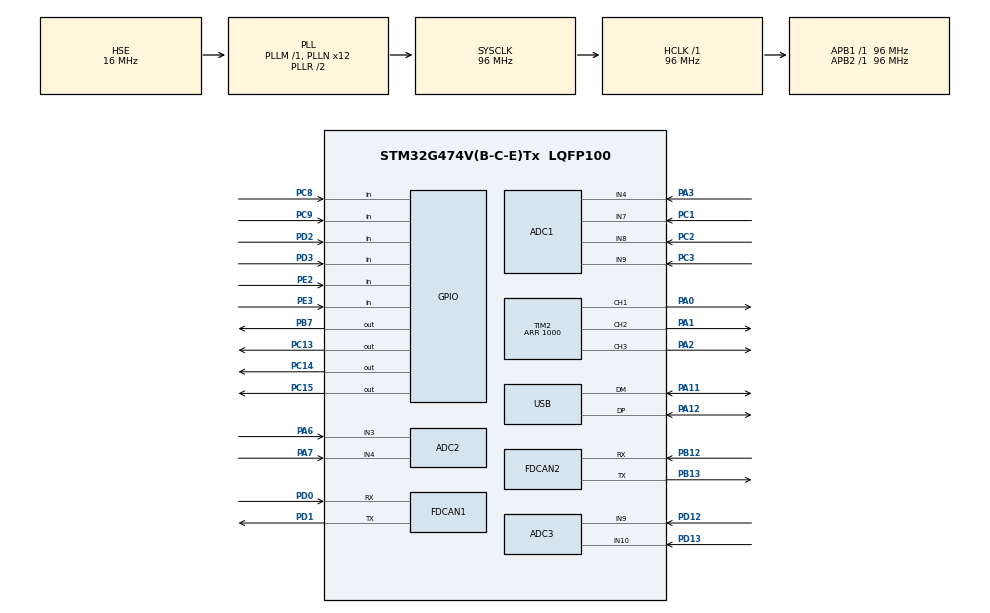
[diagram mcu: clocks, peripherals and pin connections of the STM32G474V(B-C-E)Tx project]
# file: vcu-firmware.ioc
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ADC1.Channel-1\#ChannelRegularConversion=ADC_CHANNEL_4
ADC1.NbrOfConversionFlag=1
ADC1.OffsetNumber-1\#ChannelRegularConversion=ADC_OFFSET_NONE
ADC1.Rank-1\#ChannelRegularConversion=1
ADC1.SamplingTime-1\#ChannelRegularConversion=ADC_SAMPLETIME_2CYCLES_5
ADC1.master=1
ADC2.Channel-0\#ChannelRegularConversion=ADC_CHANNEL_3
ADC2.Channel-1\#ChannelRegularConversion=ADC_CHANNEL_4
ADC2.ContinuousConvMode=DISABLE
ADC2.DMAContinuousRequests=ENABLE
ADC2.NbrOfConversion=2
ADC2.NbrOfConversionFlag=1
ADC2.OffsetNumber-0\#ChannelRegularConversion=ADC_OFFSET_NONE
ADC2.OffsetNumber-1\#ChannelRegularConversion=ADC_OFFSET_NONE
ADC2.Rank-0\#ChannelRegularConversion=1
ADC2.Rank-1\#ChannelRegularConversion=2
ADC2.SamplingTime-0\#ChannelRegularConversion=ADC_SAMPLETIME_247CYCLES_5
ADC2.SamplingTime-1\#ChannelRegularConversion=ADC_SAMPLETIME_247CYCLES_5
ADC3.Channel-4\#ChannelRegularConversion=ADC_CHANNEL_9
ADC3.Channel-6\#ChannelRegularConversion=ADC_CHANNEL_10
ADC3.ContinuousConvMode=DISABLE
ADC3.DMAContinuousRequests=ENABLE
ADC3.NbrOfConversion=2
ADC3.NbrOfConversionFlag=1
ADC3.OffsetNumber-4\#ChannelRegularConversion=ADC_OFFSET_NONE
ADC3.OffsetNumber-6\#ChannelRegularConversion=ADC_OFFSET_NONE
ADC3.Rank-4\#ChannelRegularConversion=1
ADC3.Rank-6\#ChannelRegularConversion=2
ADC3.SamplingTime-4\#ChannelRegularConversion=ADC_SAMPLETIME_247CYCLES_5
ADC3.SamplingTime-6\#ChannelRegularConversion=ADC_SAMPLETIME_247CYCLES_5
ADC3.master=1
Dma.ADC1.0.Direction=DMA_PERIPH_TO_MEMORY
Dma.ADC1.0.EventEnable=DISABLE
Dma.ADC1.0.Instance=DMA1_Channel1
Dma.ADC1.0.MemDataAlignment=DMA_MDATAALIGN_HALFWORD
Dma.ADC1.0.MemInc=DMA_MINC_ENABLE
Dma.ADC1.0.Mode=DMA_CIRCULAR
Dma.ADC1.0.PeriphDataAlignment=DMA_PDATAALIGN_HALFWORD
Dma.ADC1.0.PeriphInc=DMA_PINC_DISABLE
Dma.ADC1.0.Polarity=HAL_DMAMUX_REQ_GEN_RISING
Dma.ADC1.0.Priority=DMA_PRIORITY_MEDIUM
Dma.ADC1.0.RequestNumber=1
Dma.ADC1.0.SignalID=NONE
Dma.ADC1.0.SyncEnable=DISABLE
Dma.ADC1.0.SyncPolarity=HAL_DMAMUX_SYNC_NO_EVENT
Dma.ADC1.0.SyncRequestNumber=1
Dma.ADC1.0.SyncSignalID=NONE
Dma.ADC2.1.Direction=DMA_PERIPH_TO_MEMORY
Dma.ADC2.1.EventEnable=DISABLE
Dma.ADC2.1.Instance=DMA1_Channel2
Dma.ADC2.1.MemDataAlignment=DMA_MDATAALIGN_HALFWORD
Dma.ADC2.1.MemInc=DMA_MINC_ENABLE
Dma.ADC2.1.Mode=DMA_CIRCULAR
Dma.ADC2.1.PeriphDataAlignment=DMA_PDATAALIGN_HALFWORD
Dma.ADC2.1.PeriphInc=DMA_PINC_DISABLE
Dma.ADC2.1.Polarity=HAL_DMAMUX_REQ_GEN_RISING
Dma.ADC2.1.Priority=DMA_PRIORITY_MEDIUM
Dma.ADC2.1.RequestNumber=1
Dma.ADC2.1.SignalID=NONE
Dma.ADC2.1.SyncEnable=DISABLE
Dma.ADC2.1.SyncPolarity=HAL_DMAMUX_SYNC_NO_EVENT
Dma.ADC2.1.SyncRequestNumber=1
Dma.ADC2.1.SyncSignalID=NONE
Dma.ADC3.2.Direction=DMA_PERIPH_TO_MEMORY
Dma.ADC3.2.EventEnable=DISABLE
Dma.ADC3.2.Instance=DMA2_Channel1
Dma.ADC3.2.MemDataAlignment=DMA_MDATAALIGN_HALFWORD
Dma.ADC3.2.MemInc=DMA_MINC_ENABLE
Dma.ADC3.2.Mode=DMA_CIRCULAR
Dma.ADC3.2.PeriphDataAlignment=DMA_PDATAALIGN_HALFWORD
Dma.ADC3.2.PeriphInc=DMA_PINC_DISABLE
Dma.ADC3.2.Polarity=HAL_DMAMUX_REQ_GEN_RISING
Dma.ADC3.2.Priority=DMA_PRIORITY_MEDIUM
Dma.ADC3.2.RequestNumber=1
Dma.ADC3.2.SignalID=NONE
Dma.ADC3.2.SyncEnable=DISABLE
Dma.ADC3.2.SyncPolarity=HAL_DMAMUX_SYNC_NO_EVENT
Dma.ADC3.2.SyncRequestNumber=1
Dma.ADC3.2.SyncSignalID=NONE
Dma.Request0=ADC1
Dma.Request1=ADC2
Dma.Request2=ADC3
FDCAN1.AutoRetransmission=ENABLE
FDCAN1.CalculateBaudRateNominal=1000000
FDCAN1.CalculateTimeBitNominal=1000
FDCAN1.CalculateTimeQuantumNominal=125.0
FDCAN1.Mode=FDCAN_MODE_NORMAL
FDCAN1.NominalPrescaler=12
FDCAN1.NominalTimeSeg1=5
FDCAN1.NominalTimeSeg2=2
FDCAN1.TransmitPause=DISABLE
FDCAN1.TxFifoQueueMode=FDCAN_TX_FIFO_OPERATION
FDCAN2.CalculateBaudRateNominal=1000000
FDCAN2.CalculateTimeBitNominal=1000
FDCAN2.CalculateTimeQuantumNominal=125.0
FDCAN2.NominalPrescaler=12
FDCAN2.NominalTimeSeg1=5
FDCAN2.NominalTimeSeg2=2
FREERTOS.Tasks01=defaultTask,24,128,StartDefaultTask,Default,NULL,Dynamic,NULL,NULL
FREERTOS.configTOTAL_HEAP_SIZE=16384
Mcu.Family=STM32G4
Mcu.Name=STM32G474V(B-C-E)Tx
Mcu.Package=LQFP100
NVIC.DMA1_Channel1_IRQn=true\:10\:0\:true\:false\:true\:true\:false\:true\:true
NVIC.DMA1_Channel2_IRQn=true\:10\:0\:true\:false\:true\:true\:false\:true\:true
NVIC.DMA2_Channel1_IRQn=true\:10\:0\:true\:false\:true\:false\:false\:true\:true
NVIC.FDCAN1_IT0_IRQn=true\:5\:0\:false\:false\:true\:true\:true\:true\:true
NVIC.FDCAN1_IT1_IRQn=true\:5\:0\:false\:false\:true\:true\:true\:true\:true
NVIC.PriorityGroup=NVIC_PRIORITYGROUP_4
NVIC.TIM20_UP_IRQn=true\:15\:0\:false\:false\:true\:false\:false\:true\:true
NVIC.TimeBase=TIM20_UP_IRQn
NVIC.TimeBaseIP=TIM20
NVIC.USB_LP_IRQn=true\:5\:0\:false\:false\:true\:true\:false\:true\:true
PA0.Signal=S_TIM2_CH1
PA1.Signal=S_TIM2_CH2
PA11.Mode=Device
PA11.Signal=USB_DM
PA12.Mode=Device
PA12.Signal=USB_DP
PA13.Mode=Trace_Asynchronous_SW
PA13.Signal=SYS_JTMS-SWDIO
PA14.Mode=Trace_Asynchronous_SW
PA14.Signal=SYS_JTCK-SWCLK
PA2.Signal=S_TIM2_CH3
PA3.Mode=IN4-Single-Ended
PA3.Signal=ADC1_IN4
PA6.Mode=IN3-Single-Ended
PA6.Signal=ADC2_IN3
PA7.Mode=IN4-Single-Ended
PA7.Signal=ADC2_IN4
PB12.Mode=FDCAN_Activate
PB12.Signal=FDCAN2_RX
PB13.Mode=FDCAN_Activate
PB13.Signal=FDCAN2_TX
PB3.Mode=Trace_Asynchronous_SW
PB3.Signal=SYS_JTDO-SWO
PB7.Signal=GPIO_Output
PC1.Mode=IN7-Single-Ended
PC1.Signal=ADC1_IN7
PC13.Signal=GPIO_Output
PC14-OSC32_IN.Signal=GPIO_Output
PC15-OSC32_OUT.Signal=GPIO_Output
PC2.Mode=IN8-Single-Ended
PC2.Signal=ADC1_IN8
PC3.Mode=IN9-Single-Ended
PC3.Signal=ADC1_IN9
PC8.Signal=GPIO_Input
PC9.Signal=GPIO_Input
PD0.Mode=FDCAN_Activate
PD0.Signal=FDCAN1_RX
PD1.Mode=FDCAN_Activate
PD1.Signal=FDCAN1_TX
PD12.Mode=IN9-Single-Ended
PD12.Signal=ADC3_IN9
PD13.Mode=IN10-Single-Ended
PD13.Signal=ADC3_IN10
PD2.Signal=GPIO_Input
PD3.Signal=GPIO_Input
PE2.Signal=GPIO_Input
PE3.Signal=GPIO_Input
PF0-OSC_IN.Mode=HSE-External-Oscillator
PF0-OSC_IN.Signal=RCC_OSC_IN
PF1-OSC_OUT.Mode=HSE-External-Oscillator
PF1-OSC_OUT.Signal=RCC_OSC_OUT
ProjectManager.HeapSize=0x200
ProjectManager.StackSize=0x400
ProjectManager.TargetToolchain=Makefile
RCC.ADC12Freq_Value=96000000
RCC.ADC345Freq_Value=96000000
RCC.AHBFreq_Value=96000000
RCC.APB1Freq_Value=96000000
RCC.APB1TimFreq_Value=96000000
RCC.APB2Freq_Value=96000000
RCC.APB2TimFreq_Value=96000000
RCC.CortexFreq_Value=96000000
RCC.EXTERNAL_CLOCK_VALUE=12288000
RCC.HCLKFreq_Value=96000000
RCC.HSE_VALUE=16000000
RCC.HSI48_VALUE=48000000
RCC.HSI_VALUE=16000000
RCC.LSE_VALUE=32768
RCC.PLLN=12
RCC.PLLQ=RCC_PLLQ_DIV4
RCC.PLLSourceVirtual=RCC_PLLSOURCE_HSE
RCC.SYSCLKFreq_VALUE=96000000
RCC.SYSCLKSource=RCC_SYSCLKSOURCE_PLLCLK
RCC.USBFreq_Value=48000000
RCC.VCOOutputFreq_Value=192000000
SH.S_TIM2_CH1.0=TIM2_CH1,PWM Generation1 CH1
SH.S_TIM2_CH2.0=TIM2_CH2,PWM Generation2 CH2
SH.S_TIM2_CH3.0=TIM2_CH3,PWM Generation3 CH3
TIM2.Channel-PWM\ Generation1\ CH1=TIM_CHANNEL_1
TIM2.Channel-PWM\ Generation2\ CH2=TIM_CHANNEL_2
TIM2.Channel-PWM\ Generation3\ CH3=TIM_CHANNEL_3
TIM2.Dithering=Disable
TIM2.OCFastMode_PWM-PWM\ Generation1\ CH1=TIM_OCFAST_ENABLE
TIM2.OCFastMode_PWM-PWM\ Generation2\ CH2=TIM_OCFAST_ENABLE
TIM2.OCFastMode_PWM-PWM\ Generation3\ CH3=TIM_OCFAST_ENABLE
TIM2.OCPolarity_1=TIM_OCPOLARITY_LOW
TIM2.OCPolarity_2=TIM_OCPOLARITY_LOW
TIM2.OCPolarity_3=TIM_OCPOLARITY_LOW
TIM2.PeriodNoDither=1000
USB_DEVICE.CLASS_NAME_FS=CDC
USB_DEVICE.VirtualMode=Cdc
USB_DEVICE.VirtualModeFS=Cdc_FS
VP_FREERTOS_VS_CMSIS_V2.Mode=CMSIS_V2
VP_SYS_VS_DBSignals.Mode=DisableDeadBatterySignals
VP_SYS_VS_tim20.Mode=TIM20
VP_USB_DEVICE_VS_USB_DEVICE_CDC_FS.Mode=CDC_FS
board=custom
FDCAN1.StdFiltersNbr=16
FDCAN2.StdFiltersNbr=8
NVIC.FDCAN2_IT0_IRQn=true\:5\:0\:false\:false\:true\:true\:true\:true\:true

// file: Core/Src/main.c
/* USER CODE BEGIN Header */
/**
 ******************************************************************************
 * @file           : main.c
 * @brief          : Main program body
 ******************************************************************************
 * @attention
 *
 * Copyright (c) 2025 STMicroelectronics.
 * All rights reserved.
 *
 * This software is licensed under terms that can be found in the LICENSE file
 * in the root directory of this software component.
 * If no LICENSE file comes with this software, it is provided AS-IS.
 *
 ******************************************************************************
 */
/* USER CODE END Header */
#include "main.h"
#include "cmsis_os.h"
#include "adc.h"
#include "dma.h"
#include "fdcan.h"
#include "tim.h"
#include "usb_device.h"
#include "gpio.h"

void SystemClock_Config(void);
void MX_FREERTOS_Init(void);

int main(void)
{

  /* MCU Configuration--------------------------------------------------------*/

  /* Reset of all peripherals, Initializes the Flash interface and the Systick. */
  HAL_Init();

  /* Configure the system clock */
  SystemClock_Config();

  /* Initialize all configured peripherals */
  MX_GPIO_Init();
  MX_DMA_Init();
  MX_ADC1_Init();
  MX_ADC2_Init();
  MX_ADC3_Init();
  MX_FDCAN1_Init();
  MX_FDCAN2_Init();
  MX_TIM2_Init();

  /* Init scheduler */
  osKernelInitialize();

  /* Call init function for freertos objects (in cmsis_os2.c) */
  MX_FREERTOS_Init();

  /* Start scheduler */
  osKernelStart();

  /* We should never get here as control is now taken by the scheduler */

  /* Infinite loop */
    while (1) {

    }
}

void SystemClock_Config(void)
{
  RCC_OscInitTypeDef RCC_OscInitStruct = {0};
  RCC_ClkInitTypeDef RCC_ClkInitStruct = {0};

  /** Configure the main internal regulator output voltage
  */
  HAL_PWREx_ControlVoltageScaling(PWR_REGULATOR_VOLTAGE_SCALE1);

  /** Initializes the RCC Oscillators according to the specified parameters
  * in the RCC_OscInitTypeDef structure.
  */
  RCC_OscInitStruct.OscillatorType = RCC_OSCILLATORTYPE_HSE;
  RCC_OscInitStruct.HSEState = RCC_HSE_ON;
  RCC_OscInitStruct.PLL.PLLState = RCC_PLL_ON;
  RCC_OscInitStruct.PLL.PLLSource = RCC_PLLSOURCE_HSE;
  RCC_OscInitStruct.PLL.PLLM = RCC_PLLM_DIV1;
  RCC_OscInitStruct.PLL.PLLN = 12;
  RCC_OscInitStruct.PLL.PLLP = RCC_PLLP_DIV2;
  RCC_OscInitStruct.PLL.PLLQ = RCC_PLLQ_DIV4;
  RCC_OscInitStruct.PLL.PLLR = RCC_PLLR_DIV2;
  if (HAL_RCC_OscConfig(&RCC_OscInitStruct) != HAL_OK)
  {
    Error_Handler();
  }

  /** Initializes the CPU, AHB and APB buses clocks
  */
  RCC_ClkInitStruct.ClockType = RCC_CLOCKTYPE_HCLK|RCC_CLOCKTYPE_SYSCLK
                              |RCC_CLOCKTYPE_PCLK1|RCC_CLOCKTYPE_PCLK2;
  RCC_ClkInitStruct.SYSCLKSource = RCC_SYSCLKSOURCE_PLLCLK;
  RCC_ClkInitStruct.AHBCLKDivider = RCC_SYSCLK_DIV1;
  RCC_ClkInitStruct.APB1CLKDivider = RCC_HCLK_DIV1;
  RCC_ClkInitStruct.APB2CLKDivider = RCC_HCLK_DIV1;

  if (HAL_RCC_ClockConfig(&RCC_ClkInitStruct, FLASH_LATENCY_3) != HAL_OK)
  {
    Error_Handler();
  }
}

void HAL_TIM_PeriodElapsedCallback(TIM_HandleTypeDef *htim)
{
  if (htim->Instance == TIM20)
  {
    HAL_IncTick();
  }
}

void Error_Handler(void)
{
  /* USER CODE BEGIN Error_Handler_Debug */
    /* User can add his own implementation to report the HAL error return state
     */
    __disable_irq();
    while (1) {
        // HAL_TIM_PWM_DeInit(&htim2);
        // HAL_GPIO_TogglePin(GPIOA, GPIO_PIN_0);
    }
  /* USER CODE END Error_Handler_Debug */
}

#ifdef  USE_FULL_ASSERT
/**
  * @brief  Reports the name of the source file and the source line number
  *         where the assert_param error has occurred.
  * @param  file: pointer to the source file name
  * @param  line: assert_param error line source number
  * @retval None
  */
void assert_failed(uint8_t *file, uint32_t line)
{
  /* USER CODE BEGIN 6 */
    /* User can add his own implementation to report the file name and line
       number, ex: printf("Wrong parameters value: file %s on line %d\r\n",
       file, line) */
  /* USER CODE END 6 */
}
#endif /* USE_FULL_ASSERT */

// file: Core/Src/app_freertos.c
/* USER CODE BEGIN Header */
/**
 *******************************************************************************
 * File Name          : app_freertos.c
 * Description        : Code for FreeRTOS applications (VCU)
 *******************************************************************************
 */
/* USER CODE END Header */

#include "FreeRTOS.h"
#include "cmsis_os.h"
#include "main.h"
#include "task.h"

#include "usb_device.h"

/* USER CODE BEGIN Includes */

#include "adc.h"
#include "tim.h"
#include "usbd_cdc_if.h"

#include "longhorn/rtos/dfu.h"
#include "longhorn/rtos/led.h"
#include "longhorn/rtos/logger.h"
#include "longhorn/rtos/usb.h"
#include "longhorn/usb_base.h"
#include "ota/ota_flash.h"

#include "vcu_model/inc/vcu_inputs.h"
#include "vcu_model/inc/vcu_model.h"
#include "vcu_model/inc/vcu_outputs.h"

#include "vcu_can.h"

#include "params/acceleration_params.h"
#include "params/autocross_params.h"
#include "params/endurance_params.h"
#include "params/skidpad_params.h"

#include <stdint.h>
#include <stdlib.h>
#include <math.h>
/* USER CODE END Includes */

/* USER CODE BEGIN PTD */
// External ADC handles
extern ADC_HandleTypeDef hadc1;
extern ADC_HandleTypeDef hadc2;
extern ADC_HandleTypeDef hadc3;

// DMA buffers
// APPS1, APPS2 from ADC3 (configured in adc.c)
extern volatile uint16_t adc3_dma_buf[2];
// BSE from ADC2
extern volatile uint16_t adc2_dma_buf[2];

// Thread handles
osThreadId_t systemTaskHandle;
osThreadId_t controlTaskHandle;
osThreadId_t ledHandle;

// Thread attributes
const osThreadAttr_t systemTask_attributes = {
    .name = "SystemTask",
    .priority = osPriorityNormal,
    .stack_size = 512 * 4,
};

const osThreadAttr_t controlTask_attributes = {
    .name = "ControlTask",
    .priority = osPriorityAboveNormal,
    .stack_size = 2048,
};
/* USER CODE END PTD */

/* USER CODE BEGIN PD */
#define SELECTED_PARAMS endurance_params
/* USER CODE END PD */

/* USER CODE BEGIN PM */
#define ADC_APPS_SCALE_V 3.3f
#define ADC_STEERING_SCALE_V 3.3f
#define STEERING_DIVIDER_R_TOP_OHMS 5100.0f
#define STEERING_DIVIDER_R_BOTTOM_OHMS 10000.0f
#define STEERING_SENSOR_SUPPLY_V 4.64f
#define STEERING_SENSOR_MIN_RATIO 0.10f
#define STEERING_SENSOR_MAX_RATIO 0.90f
#define STEERING_SENSOR_ANGLE_RANGE_DEG 360.0f
#define STEERING_SENSOR_ANGLE_OFFSET_DEG 0.0f
#define CONTROL_LOOP_PERIOD_MS 3u

/* USER CODE END PM */

/* USER CODE BEGIN Variables */

static vcu_parameters_t s_params;
static vcu_model_context_t ctx = {0};

/* USER CODE END Variables */
/* Definitions for defaultTask */
osThreadId_t defaultTaskHandle;
const osThreadAttr_t defaultTask_attributes = {
    .name = "defaultTask",
    .priority = (osPriority_t)osPriorityNormal,
    .stack_size = 128 * 4};

/* USER CODE BEGIN FunctionPrototypes */

// Function prototypes
void StartSystemTask(void *argument);
void StartControlTask(void *argument);
static float steering_adc_to_sensor_voltage(float adc_voltage_v);
static float steering_sensor_voltage_to_percent(float sensor_voltage_v);
static float steering_sensor_voltage_to_angle_deg(float sensor_voltage_v);

/* USER CODE END FunctionPrototypes */

void StartDefaultTask(void *argument);

void MX_FREERTOS_Init(void); /* (MISRA C 2004 rule 8.1) */

void MX_FREERTOS_Init(void) {
  /* USER CODE BEGIN Init */

  // Create system/init task
  systemTaskHandle = osThreadNew(StartSystemTask, NULL, &systemTask_attributes);

  // Configure and start rainbow LED thread
  rainbow_led_t led = (rainbow_led_t){
      .ccr1 = &TIM2->CCR2,
      .ccr2 = &TIM2->CCR1,
      .ccr3 = &TIM2->CCR3,
      .channel1 = TIM_CHANNEL_1,
      .channel2 = TIM_CHANNEL_2,
      .channel3 = TIM_CHANNEL_3,
      .pwm_start = (HAL_PWM_Start_Fn)HAL_TIM_PWM_Start,
      .timer_handle = &htim2,
  };
  led_init(&led);
  ledHandle = led_start_thread();

  // Create main control task
  controlTaskHandle =
      osThreadNew(StartControlTask, NULL, &controlTask_attributes);

  /* USER CODE END Init */

  /* Create the thread(s) */
  /* creation of defaultTask */
  defaultTaskHandle =
      osThreadNew(StartDefaultTask, NULL, &defaultTask_attributes);

}

void StartDefaultTask(void *argument) {
  /* init code for USB_Device */
  MX_USB_Device_Init();
  /* USER CODE BEGIN StartDefaultTask */
  /* Infinite loop */
  for (;;) {
    osDelay(10000);
  }
  /* USER CODE END StartDefaultTask */
}

/* USER CODE BEGIN Application */
static float steering_adc_to_sensor_voltage(float adc_voltage_v) {
  const float divider_gain =
      (STEERING_DIVIDER_R_TOP_OHMS + STEERING_DIVIDER_R_BOTTOM_OHMS) /
      STEERING_DIVIDER_R_BOTTOM_OHMS;
  return adc_voltage_v * divider_gain;
}

// 48% (rightmost) to 114% (leftmost)

static float steering_sensor_voltage_to_angle_deg(float sensor_voltage_v) {
  // Assumes the PIHER sensor output is ratiometric from 10% to 90% of the
  // 4.64 V supply across a 360 degree sweep.
  float angle_pct = steering_sensor_voltage_to_percent(sensor_voltage_v);
  float raw_angle_deg = (angle_pct * STEERING_SENSOR_ANGLE_RANGE_DEG) -
         (0.5f * STEERING_SENSOR_ANGLE_RANGE_DEG);
  float adjusted_angle_deg = raw_angle_deg + STEERING_SENSOR_ANGLE_OFFSET_DEG;
  return adjusted_angle_deg;
}

static float steering_sensor_voltage_to_percent(float sensor_voltage_v) {
  const float sensor_min_v =
      STEERING_SENSOR_SUPPLY_V * STEERING_SENSOR_MIN_RATIO;
  const float sensor_max_v =
      STEERING_SENSOR_SUPPLY_V * STEERING_SENSOR_MAX_RATIO;
  const float clamped_sensor_v =
      fminf(fmaxf(sensor_voltage_v, sensor_min_v), sensor_max_v);
  float pct = (clamped_sensor_v - sensor_min_v) / (sensor_max_v - sensor_min_v);
  if(pct > 0.8f) {
    pct -= 1.0f;
  }
  return pct;
}

// SystemTask: one-time initialization (USB, logging, DFU, ADC DMA, CAN) -----
void StartSystemTask(void *argument) {
  // USB + logging
  MX_USB_Device_Init();

  if (init_logging(CDC_Transmit_FS) == -1) {
    // If USB logging fails, stop LED thread so we notice
    osThreadTerminate(ledHandle);
  }

  // DFU (bootloader) config
  dfu_config dfu = {
      .delay_fn = (Delay_fn)osDelay,
      .gpiox = GPIOB,
      .pin = GPIO_PIN_7,
      .pin_set_fn = (PinSet_fn)HAL_GPIO_WritePin,
      .reset_fn = (SystemReset_fn)HAL_NVIC_SystemReset,
      .set_bank1_fn = (SetBank1_fn)ota_set_bank1,
  };
  init_dfu(dfu);
  dfu_start_thread();

  // Start DMA conversions for APPS (ADC3) and BSE (ADC2) once
  if (HAL_ADC_Start_DMA(&hadc3, (uint32_t *)adc3_dma_buf, 2) != HAL_OK) {
    Error_Handler();
  }
  if (HAL_ADC_Start_DMA(&hadc2, (uint32_t *)adc2_dma_buf, 2) != HAL_OK) {
    Error_Handler();
  }

  // Initialize CAN (longhorn-lib, inverter torque command + feedback)
  vcu_can_init();

  // Nothing else to do here; keep the task alive for future use
  for (;;) {
    osDelay(pdMS_TO_TICKS(500));
  }
}

// ControlTask: main 3ms loop (ADC -> model -> CAN -> logging) --------------
void StartControlTask(void *argument) {
  // Let system init (USB, DFU, CAN, DMA) finish
  osDelay(pdMS_TO_TICKS(1000));

  vcu_can_clear_inverter_faults();

  static uint32_t last_tick = 0;
  last_tick = osKernelGetTickCount();

  vcu_inputs_t in = {0};
  vcu_outputs_t out = {0};

  s_params = SELECTED_PARAMS;
  vcu_model_init(&ctx, &s_params);

  uint32_t adc1_val = 0; // steering ADC1 read
  float steering_adc_voltage_v = 0.0f;
  float steering_sensor_voltage_v = 0.0f;
  float steering_angle_pct = 0.0f;
  float steering_angle_deg = 0.0f;

  HAL_ADC_Start(&hadc1);
  TickType_t next_release = xTaskGetTickCount();

  for (;;) {
    uint32_t current_tick = osKernelGetTickCount();
    uint32_t dt_ms = current_tick - last_tick;
    last_tick = current_tick;

    // Make sure DMA conversions are running for APPS/BSE.
    // If DMA is already running, HAL will usually return HAL_BUSY; that's OK.
    HAL_StatusTypeDef s;

    s = HAL_ADC_Start_DMA(&hadc3, (uint32_t *)adc3_dma_buf, 2);
    if (s != HAL_OK && s != HAL_BUSY) {
      Error_Handler();
    }

    s = HAL_ADC_Start_DMA(&hadc2, (uint32_t *)adc2_dma_buf, 2);
    if (s != HAL_OK && s != HAL_BUSY) {
      Error_Handler();
    }

    // Optional: small delay to let conversions complete before we read
    // osDelay(1);

    // Consume completed steering conversion without blocking the torque loop.
    // This legacy steering value is telemetry, not a qualified TC road-wheel angle.
    if (__HAL_ADC_GET_FLAG(&hadc1, ADC_FLAG_EOC)) {
      adc1_val = HAL_ADC_GetValue(&hadc1);
      HAL_ADC_Stop(&hadc1);
      HAL_ADC_Start(&hadc1);
    }

    steering_adc_voltage_v =
        ((float)adc1_val * ADC_STEERING_SCALE_V) / ADC_MAX_VAL;
    steering_sensor_voltage_v =
        steering_adc_to_sensor_voltage(steering_adc_voltage_v);
    steering_angle_pct =
        steering_sensor_voltage_to_percent(steering_sensor_voltage_v);
    // steering_angle_deg =
    //     steering_sensor_voltage_to_angle_deg(steering_sensor_voltage_v);
    steering_angle_deg = ((steering_angle_pct - 0.02f) / 0.62f - 0.5f) * 230.0f + 7.0f;  // TODO chud temp tuning

    // Read pedal sensors from DMA buffers
    in.apps1_raw = ((float)adc3_dma_buf[1] * ADC_APPS_SCALE_V) / ADC_MAX_VAL;
    in.apps2_raw = ((float)adc3_dma_buf[0] * ADC_APPS_SCALE_V) / ADC_MAX_VAL;
    in.bse1_raw = ((float)adc2_dma_buf[0] * ADC_BSE_SCALE_V) / ADC_MAX_VAL;
    in.bse2_raw = ((float)adc2_dma_buf[1] * ADC_BSE_SCALE_V) / ADC_MAX_VAL;

    in.drive_switch = is_drive_switch_pressed();

    in.contactors_closed = hvc_tractive_ready();
    inverter_voltages_t inverter_voltages = vcu_can_get_inverter_voltages();
    inverter_currents_t inverter_currents = vcu_can_get_inverter_currents();
    vcu_battery_pack_status_t pack_status = vcu_can_get_battery_pack_status();

    in.motor_speed_rpm = fabsf(vcu_can_get_motor_speed_rpm());
    in.torque_feedback_nm = vcu_can_get_torque_feedback_nm();
    in.motor_speed_valid = vcu_can_is_motor_speed_valid();
    vcu_can_get_traction_inputs(&in.traction_control);
    in.min_cell_voltage_v = vcu_can_get_min_cell_voltage_v();
    in.max_cell_voltage_v = vcu_can_get_max_cell_voltage_v();
    if (in.min_cell_voltage_v <= 0.0f) {
      in.min_cell_voltage_v = s_params.torque_map.low_cell_derate_start_v;
    }
    if (in.max_cell_voltage_v <= 0.0f) {
      in.max_cell_voltage_v = in.min_cell_voltage_v;
    }
    in.battery_voltage_v = inverter_voltages.dc_bus;
    in.battery_current_a = inverter_currents.dc_bus;
    in.battery_soc_pct = pack_status.state_of_charge_pct;
    in.min_cell_temp_c = pack_status.min_cell_temp_c;
    in.max_cell_temp_c = pack_status.max_cell_temp_c;
    in.inverter_voltage_valid = vcu_can_is_inverter_voltage_valid();
    in.inverter_current_valid = vcu_can_is_inverter_current_valid();
    in.battery_pack_status_valid = pack_status.valid;

    // Run control model
    vcu_model_step(&ctx, &in, &out, dt_ms);

    vcu_can_set_model_inputs(&in);
    vcu_can_set_model_outputs(&out);
    vcu_can_set_steering_angle_deg(steering_angle_deg);
    vcu_can_set_event_mode(s_params.event_mode);

    // log_printf(LOG_INFO,
    //            "\nAPPS1_RAW:%.3f APPS1_PCT:%.3f\nAPPS2_RAW:%.3f "
    //            "APPS2_PCT:%.3f\nAPPS: %.3f\n\n",
    //            (double)in.apps1_raw, (double)out.apps1_travel,
    //            (double)in.apps2_raw, (double)out.apps2_travel,
    //            (double)out.accel_pedal_travel);

    uint32_t post_faults = vcu_can_get_inverter_post_faults();
    uint32_t run_faults  = vcu_can_get_inverter_run_faults();
    if (post_faults || run_faults) {
      log_printf(LOG_ERROR, "[INV] POST_FAULTS:0x%08lX RUN_FAULTS:0x%08lX\n",
                 post_faults, run_faults);
    }

    // 3 ms control loop (333 Hz)
    const TickType_t period = pdMS_TO_TICKS(CONTROL_LOOP_PERIOD_MS);
    if ((TickType_t)(xTaskGetTickCount() - next_release) >= period)
      next_release = xTaskGetTickCount(); // Do not burst through missed cycles.
    vTaskDelayUntil(&next_release, pdMS_TO_TICKS(CONTROL_LOOP_PERIOD_MS));
  }
}

/* USER CODE END Application */
